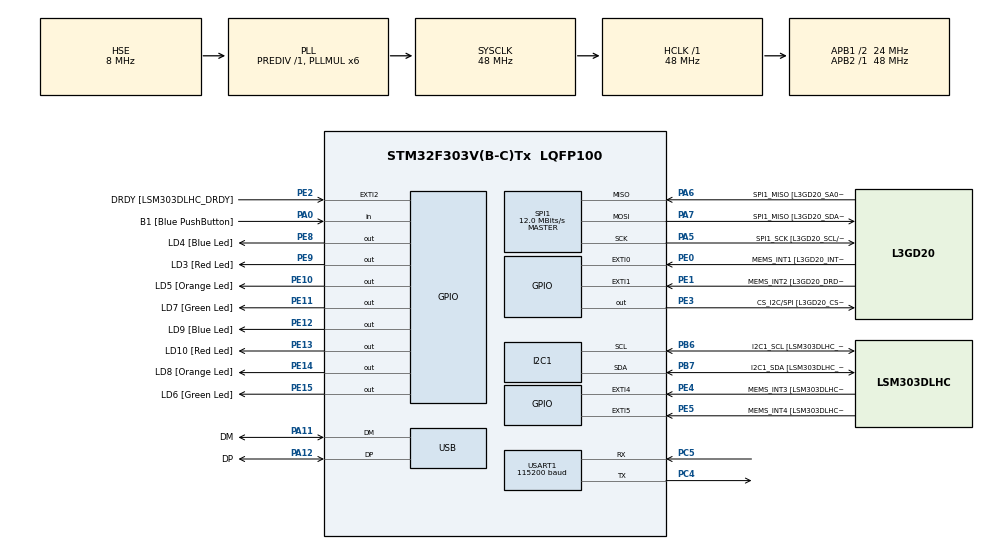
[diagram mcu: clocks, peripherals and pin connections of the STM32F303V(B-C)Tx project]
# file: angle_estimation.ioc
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I2C1.Timing=0x00201D2B
I2C1.Timing-I2C=0x2000090E
Mcu.Family=STM32F3
Mcu.Name=STM32F303V(B-C)Tx
Mcu.Package=LQFP100
NVIC.PriorityGroup=NVIC_PRIORITYGROUP_0
PA0.GPIO_Label=B1 [Blue PushButton]
PA0.Signal=GPIO_Input
PA11.GPIO_Label=DM
PA11.Mode=Device
PA11.Signal=USB_DM
PA12.GPIO_Label=DP
PA12.Mode=Device
PA12.Signal=USB_DP
PA13.GPIO_Label=SWDIO
PA13.Mode=Serial_Wire
PA13.Signal=SYS_JTMS-SWDIO
PA14.GPIO_Label=SWCLK
PA14.Mode=Serial_Wire
PA14.Signal=SYS_JTCK-SWCLK
PA5.GPIO_Label=SPI1_SCK [L3GD20_SCL/SPC]
PA5.Mode=Full_Duplex_Master
PA5.Signal=SPI1_SCK
PA6.GPIO_Label=SPI1_MISO [L3GD20_SA0/SDO]
PA6.Mode=Full_Duplex_Master
PA6.Signal=SPI1_MISO
PA7.GPIO_Label=SPI1_MISO [L3GD20_SDA/SDI/SDO]
PA7.Mode=Full_Duplex_Master
PA7.Signal=SPI1_MOSI
PB3.GPIO_Label=SWO
PB3.Signal=SYS_JTDO-TRACESWO
PB6.GPIO_Label=I2C1_SCL [LSM303DLHC_SCL]
PB6.GPIO_Pu=GPIO_PULLUP
PB6.Mode=I2C
PB6.Signal=I2C1_SCL
PB7.GPIO_Label=I2C1_SDA [LSM303DLHC_SDA]
PB7.GPIO_Pu=GPIO_PULLUP
PB7.Mode=I2C
PB7.Signal=I2C1_SDA
PC14-OSC32_IN.GPIO_Label=OSC32_IN
PC14-OSC32_IN.Signal=RCC_OSC32_IN
PC15-OSC32_OUT.GPIO_Label=OSC32_OUT
PC15-OSC32_OUT.Signal=RCC_OSC32_OUT
PC4.Mode=Asynchronous
PC4.Signal=USART1_TX
PC5.Mode=Asynchronous
PC5.Signal=USART1_RX
PE0.GPIO_Label=MEMS_INT1 [L3GD20_INT1]
PE0.GPIO_ModeDefaultEXTI=GPIO_MODE_EVT_RISING
PE0.Signal=GPXTI0
PE1.GPIO_Label=MEMS_INT2 [L3GD20_DRDY/INT2]
PE1.GPIO_ModeDefaultEXTI=GPIO_MODE_EVT_RISING
PE1.Signal=GPXTI1
PE10.GPIO_Label=LD5 [Orange Led]
PE10.Signal=GPIO_Output
PE11.GPIO_Label=LD7 [Green Led]
PE11.Signal=GPIO_Output
PE12.GPIO_Label=LD9 [Blue Led]
PE12.Signal=GPIO_Output
PE13.GPIO_Label=LD10 [Red Led]
PE13.Signal=GPIO_Output
PE14.GPIO_Label=LD8 [Orange Led]
PE14.Signal=GPIO_Output
PE15.GPIO_Label=LD6 [Green Led]
PE15.Signal=GPIO_Output
PE2.GPIO_Label=DRDY [LSM303DLHC_DRDY]
PE2.GPIO_ModeDefaultEXTI=GPIO_MODE_EVT_RISING
PE2.Signal=GPXTI2
PE3.GPIO_Label=CS_I2C/SPI [L3GD20_CS_I2C/SPI]
PE3.Signal=GPIO_Output
PE4.GPIO_Label=MEMS_INT3 [LSM303DLHC_INT1]
PE4.GPIO_ModeDefaultEXTI=GPIO_MODE_EVT_RISING
PE4.Signal=GPXTI4
PE5.GPIO_Label=MEMS_INT4 [LSM303DLHC_INT2]
PE5.GPIO_ModeDefaultEXTI=GPIO_MODE_EVT_RISING
PE5.Signal=GPXTI5
PE8.GPIO_Label=LD4 [Blue Led]
PE8.Signal=GPIO_Output
PE9.GPIO_Label=LD3 [Red Led]
PE9.Signal=GPIO_Output
PF0-OSC_IN.GPIO_Label=OSC_IN
PF0-OSC_IN.Mode=HSE-External-Clock-Source
PF0-OSC_IN.Signal=RCC_OSC_IN
PF1-OSC_OUT.GPIO_Label=OSC_OUT
PF1-OSC_OUT.Signal=RCC_OSC_OUT
ProjectManager.HeapSize=0x200
ProjectManager.StackSize=0x400
ProjectManager.TargetToolchain=CMake
RCC.AHBFreq_Value=48000000
RCC.APB1CLKDivider=RCC_HCLK_DIV2
RCC.APB1Freq_Value=24000000
RCC.APB1TimFreq_Value=48000000
RCC.APB2Freq_Value=48000000
RCC.APB2TimFreq_Value=48000000
RCC.CortexFreq_Value=48000000
RCC.HCLKFreq_Value=48000000
RCC.HSE_VALUE=8000000
RCC.HSI_VALUE=8000000
RCC.LSE_VALUE=32768
RCC.PLLMUL=RCC_PLL_MUL6
RCC.SYSCLKFreq_VALUE=48000000
RCC.SYSCLKSourceVirtual=RCC_SYSCLKSOURCE_PLLCLK
RCC.USBFreq_Value=48000000
SPI1.BaudRatePrescaler=SPI_BAUDRATEPRESCALER_4
SPI1.BaudRatePrescaler-Full_Duplex_Master=SPI_BAUDRATEPRESCALER_2
SPI1.CalculateBaudRate=12.0 MBits/s
SPI1.CalculateBaudRate-Full_Duplex_Master=24.0 MBits/s
SPI1.Direction=SPI_DIRECTION_2LINES
SPI1.Mode=SPI_MODE_MASTER
SPI1.Mode-Full_Duplex_Master=SPI_MODE_MASTER
SPI1.VirtualType=VM_MASTER
TIM2.Period=99
TIM2.Prescaler=4799
USART1.BaudRate=115200
USART1.VirtualMode-Asynchronous=VM_ASYNC
VP_TIM2_VS_ClockSourceINT.Mode=Internal
board=STM32F3DISCOVERY

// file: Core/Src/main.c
/* USER CODE BEGIN Header */
/**
  ******************************************************************************
  * @file           : main.c
  * @brief          : Main program body
  ******************************************************************************
  * @attention
  *
  * Copyright (c) 2025 STMicroelectronics.
  * All rights reserved.
  *
  * This software is licensed under terms that can be found in the LICENSE file
  * in the root directory of this software component.
  * If no LICENSE file comes with this software, it is provided AS-IS.
  *
  ******************************************************************************
  */
/* USER CODE END Header */
#include "main.h"
#include <stdio.h>
#include <string.h>
#include <math.h>

#define GYRO_CS_GPIO_Port   GPIOE
#define GYRO_CS_Pin         CS_I2C_SPI_Pin
#define GYRO_CS_LOW()       HAL_GPIO_WritePin(GYRO_CS_GPIO_Port, GYRO_CS_Pin, GPIO_PIN_RESET)
#define GYRO_CS_HIGH()      HAL_GPIO_WritePin(GYRO_CS_GPIO_Port, GYRO_CS_Pin, GPIO_PIN_SET)

/* L3GD20 registers and constants */
#define GYRO_REG_WHOAMI   0x0F
#define GYRO_REG_CTRL1    0x20
#define GYRO_REG_CTRL4    0x23
#define GYRO_REG_OUT_X_L  0x28
#define GYRO_SPI_READ     0x80
#define GYRO_SPI_AUTO_INC 0x40
#define GYRO_SENS_250DPS  0.00875f

/* LSM303AGR accelerometer */
#define LSM_A_ADDR_8        (0x19u << 1)   // 0x32
#define LSM_A_CTRL1         0x20
#define LSM_A_CTRL4         0x23
#define LSM_A_OUT_X_L       0x28
#define LSM_A_AUTO_INC      0x80
#define LSM_A_G_PER_LSB     0.0040f

/* Complementary filter alpha */
#define CF_ALPHA 0.98f

I2C_HandleTypeDef hi2c1;
SPI_HandleTypeDef hspi1;
TIM_HandleTypeDef htim2;
UART_HandleTypeDef huart1;
PCD_HandleTypeDef hpcd_USB_FS;

/* USER CODE BEGIN PV */
/* Shared volatile state between ISR and main */
volatile float gyro_rate_x = 0.0f;    // latest gyro X rate (°/s) — updated in main
volatile float accel_angle_x = 0.0f;  // latest accel-derived pitch (deg) — updated in main
volatile float comp_angle_x = 0.0f;   // complementary filtered angle in deg — updated in ISR
volatile uint8_t flag_10hz_tasks = 0; // set by ISR every 10 ticks

/* Gyro bias (calibrated at startup) */
float gyro_bias_x = 0.0f;

/* sensor structs */
typedef struct { float ax, ay, az; float offx, offy, offz; } lsm_acc_t;
typedef struct { float gx, gy, gz; } gyro_t;

/* USER CODE END PV */

void SystemClock_Config(void);
static void MX_GPIO_Init(void);
static void MX_I2C1_Init(void);
static void MX_SPI1_Init(void);
static void MX_TIM2_Init(void);
static void MX_USART1_UART_Init(void);
static void MX_USB_PCD_Init(void);

/* USER CODE BEGIN 0 */
/* helper prototypes */
static void uart_print(const char *s);
static inline int16_t s16(uint8_t lo, uint8_t hi);
static void gyro_write_u8(uint8_t reg, uint8_t val);
static void gyro_read_n(uint8_t reg, uint8_t *buf, uint16_t n);
static uint8_t gyro_read_u8(uint8_t reg);
static void gyro_init(void);
static void gyro_read(gyro_t *g);
static float gyro_calibrate_bias_x(int samples, int delay_ms);

static HAL_StatusTypeDef i2c_write8(uint16_t dev8, uint8_t reg, uint8_t val);
static HAL_StatusTypeDef i2c_readn(uint16_t dev8, uint8_t reg, uint8_t *buf, uint16_t n);
static void LSM_Accel_Init(void);
static HAL_StatusTypeDef LSM_Accel_Read(lsm_acc_t *m);
static void LSM_Accel_Calibrate(lsm_acc_t *m, int N);

static void dps_to_text(char *dst, size_t n, float dps);
static void g_to_text(char *dst, size_t n, float g);
static void deg_to_text(char *dst, size_t n, float deg);
static void print_xyz_csv(float ax, float ay, float az);
static void print_gyro_csv(float gx, float gy, float gz);

static float accel_pitch_from_xyz(float ax, float ay, float az);

/* USER CODE END PFP */

/* Private user code ---------------------------------------------------------*/
/* USER CODE BEGIN 0 */

/* UART print helper (non-blocking not used here) */
static void uart_print(const char *s) {
  HAL_UART_Transmit(&huart1, (uint8_t*)s, (uint16_t)strlen(s), HAL_MAX_DELAY);
}

/* combine bytes little-endian */
static inline int16_t s16(uint8_t lo, uint8_t hi) {
  return (int16_t)((hi << 8) | lo);
}

/* SPI helpers for gyro (L3GD20) */
static void gyro_write_u8(uint8_t reg, uint8_t val) {
  uint8_t tx[2] = { reg & 0x3F, val }; // write: bit7=0, bit6=0
  GYRO_CS_LOW();
  HAL_SPI_Transmit(&hspi1, tx, 2, 100);
  GYRO_CS_HIGH();
}

static void gyro_read_n(uint8_t reg, uint8_t *buf, uint16_t n) {
  uint8_t header = (reg & 0x3F) | GYRO_SPI_READ | (n>1 ? GYRO_SPI_AUTO_INC : 0);
  GYRO_CS_LOW();
  HAL_SPI_Transmit(&hspi1, &header, 1, 100);
  HAL_SPI_Receive(&hspi1, buf, n, 100);
  GYRO_CS_HIGH();
}

static uint8_t gyro_read_u8(uint8_t reg) {
  uint8_t v=0; gyro_read_n(reg, &v, 1); return v;
}

/* Bring gyro up: normal mode, 100 Hz ODR & ±250 dps */
static void gyro_init(void) {
  /* CTRL1: ODR=95/100Hz & enable X/Y/Z + power on -> 0x0F is common start */
  gyro_write_u8(GYRO_REG_CTRL1, 0x0F);
  /* CTRL4: scale = ±250 dps (FS bits = 00), continuous update -> 0x00 */
  gyro_write_u8(GYRO_REG_CTRL4, 0x00);
  HAL_Delay(10);
}

/* Read gyro X/Y/Z, convert to °/s */
static void gyro_read(gyro_t *g) {
  uint8_t b[6];
  gyro_read_n(GYRO_REG_OUT_X_L, b, 6);  // auto-increment reads X/Y/Z L/H
  int16_t x = s16(b[0], b[1]);
  int16_t y = s16(b[2], b[3]);
  int16_t z = s16(b[4], b[5]);
  g->gx = x * GYRO_SENS_250DPS;
  g->gy = y * GYRO_SENS_250DPS;
  g->gz = z * GYRO_SENS_250DPS;
}

/* Calibrate gyro X bias by averaging N samples (blocking) */
static float gyro_calibrate_bias_x(int samples, int delay_ms){
  gyro_t g; float sum = 0.0f;
  for(int i=0;i<samples;i++){
    gyro_read(&g);
    sum += g.gx;
    HAL_Delay(delay_ms);
  }
  return sum / samples;
}

/* I2C wrappers for accel */
static HAL_StatusTypeDef i2c_write8(uint16_t dev8, uint8_t reg, uint8_t val) {
  return HAL_I2C_Mem_Write(&hi2c1, dev8, reg, I2C_MEMADD_SIZE_8BIT, &val, 1, 100);
}
static HAL_StatusTypeDef i2c_readn(uint16_t dev8, uint8_t reg, uint8_t *buf, uint16_t n) {
  return HAL_I2C_Mem_Read(&hi2c1, dev8, reg, I2C_MEMADD_SIZE_8BIT, buf, n, 100);
}

/* Initialize accelerometer (100 Hz, ±2g normal mode) */
static void LSM_Accel_Init(void) {
  i2c_write8(LSM_A_ADDR_8, LSM_A_CTRL1, 0x67); // ODR=100Hz, all axes enabled
  i2c_write8(LSM_A_ADDR_8, LSM_A_CTRL4, 0x00); // ±2g, normal mode
  HAL_Delay(10);
}

/* Read accel raw, convert to g, subtract offsets */
static HAL_StatusTypeDef LSM_Accel_Read(lsm_acc_t *m) {
  uint8_t b[6];
  HAL_StatusTypeDef st = i2c_readn(LSM_A_ADDR_8, (LSM_A_OUT_X_L | LSM_A_AUTO_INC), b, 6);
  if (st != HAL_OK) return st;
  int16_t rx = s16(b[0], b[1]);
  int16_t ry = s16(b[2], b[3]);
  int16_t rz = s16(b[4], b[5]);
  m->ax = rx * LSM_A_G_PER_LSB - m->offx;
  m->ay = ry * LSM_A_G_PER_LSB - m->offy;
  m->az = rz * LSM_A_G_PER_LSB - m->offz;
  return HAL_OK;
}

/* Simple accel offset calibration: average N samples while still/flat */
static void LSM_Accel_Calibrate(lsm_acc_t *m, int N) {
  float sx=0, sy=0, sz=0;
  lsm_acc_t t = {0};
  for (int i=0; i<N; i++) {
    if (LSM_Accel_Read(&t) == HAL_OK) {
      sx += t.ax; sy += t.ay; sz += t.az;
    }
    HAL_Delay(10);
  }
  m->offx = sx / N;
  m->offy = sy / N;
  m->offz = sz / N;
}

/* formatting helpers (integer-only style) */
static void dps_to_text(char *dst, size_t n, float dps){
  int32_t mdps = (int32_t)((dps>=0)?(dps*1000.0f+0.5f):(dps*1000.0f-0.5f));
  int32_t s = (mdps<0); if(s) mdps=-mdps;
  int32_t i = mdps/1000, f = mdps%1000;
  if(s) snprintf(dst,n,"-%ld.%03ld",(long)i,(long)f);
  else  snprintf(dst,n, "%ld.%03ld",(long)i,(long)f);
}
static void g_to_text(char *dst, size_t n, float g) {
  int32_t mg = (int32_t)( (g >= 0.0f) ? (g*1000.0f + 0.5f) : (g*1000.0f - 0.5f) );
  int32_t s = (mg < 0);
  if (s) mg = -mg;
  int32_t i = mg / 1000;
  int32_t f = mg % 1000;
  if (s)
    snprintf(dst, n, "-%ld.%03ld", (long)i, (long)f);
  else
    snprintf(dst, n,  "%ld.%03ld", (long)i, (long)f);
}
static void deg_to_text(char *dst, size_t n, float deg){
  int32_t mdeg = (int32_t)((deg>=0)?(deg*1000.0f+0.5f):(deg*1000.0f-0.5f));
  int32_t s = (mdeg<0); if(s) mdeg=-mdeg;
  int32_t i = mdeg/1000, f = mdeg%1000;
  if(s) snprintf(dst,n,"-%ld.%03ld",(long)i,(long)f);
  else  snprintf(dst,n, "%ld.%03ld",(long)i,(long)f);
}

static void print_xyz_csv(float ax,float ay,float az){
  char a[16], b[16], c[16], line[64];
  g_to_text(a, sizeof(a), ax);
  g_to_text(b, sizeof(b), ay);
  g_to_text(c, sizeof(c), az);
  snprintf(line, sizeof(line), "%s, %s, %s\r\n", a, b, c);
  uart_print(line);
}
static void print_gyro_csv(float gx,float gy,float gz){
  char ax[16], ay[16], az[16], line[64];
  dps_to_text(ax,sizeof ax,gx);
  dps_to_text(ay,sizeof ay,gy);
  dps_to_text(az,sizeof az,gz);
  snprintf(line,sizeof line,"%s, %s, %s\r\n",ax,ay,az);
  uart_print(line);
}

/* Accel pitch estimate in degrees: pitch = atan2(-ax, sqrt(ay^2 + az^2)) */
static float accel_pitch_from_xyz(float ax, float ay, float az) {
  float denom = sqrtf(ay*ay + az*az);
  float pr = atan2f(-ax, denom);
  return pr * 57.295779513f;
}
/* USER CODE END 0 */

int main(void)
{

  /* MCU Configuration--------------------------------------------------------*/

  /* Reset of all peripherals, Initializes the Flash interface and the Systick. */
  HAL_Init();

  /* Configure the system clock */
  SystemClock_Config();

  /* Initialize all configured peripherals */
  MX_GPIO_Init();
  MX_I2C1_Init();
  MX_SPI1_Init();
  MX_TIM2_Init();
  MX_USART1_UART_Init();
  MX_USB_PCD_Init();
  /* USER CODE BEGIN 2 */
  /* Ensure gyro CS idle HIGH (chip select inactive) */
  GYRO_CS_HIGH();
  LSM_Accel_Init();
  gyro_init();
  /* Calibrate accel offsets (optional) */
  lsm_acc_t acc_cal = {0};
  LSM_Accel_Calibrate(&acc_cal, 20); // blocking ~0.2s
  /* use calibrated offsets as baseline for reads */
  lsm_acc_t acc_store = {0};
  acc_store.offx = acc_cal.offx;
  acc_store.offy = acc_cal.offy;
  acc_store.offz = acc_cal.offz;

  /* Calibrate gyro bias (X axis) ~2 seconds */
  // uart_print("Calibrating gyro bias... keep board still (~2s)\r\n");
  // gyro_bias_x = gyro_calibrate_bias_x(200, 10);
  // {
  //   char buf[64]; int n = snprintf(buf, sizeof(buf), "Gyro bias X = %.4f dps\r\n", (double)gyro_bias_x);
  //   if (n>0) uart_print(buf);
  // }

  /* Read accel once to prime accel_angle_x and comp_angle_x */
  if (LSM_Accel_Read(&acc_store) == HAL_OK) {
    accel_angle_x = accel_pitch_from_xyz(acc_store.ax, acc_store.ay, acc_store.az);
    comp_angle_x = accel_angle_x;
  }

  /* Start TIM2 interrupt (100 Hz) */
  if (HAL_TIM_Base_Start_IT(&htim2) != HAL_OK) {
    Error_Handler();
  }

  /* Infinite loop */
  /* USER CODE BEGIN WHILE */
  while (1)
  {
    if (flag_10hz_tasks) {
    flag_10hz_tasks = 0;

    /* Task 2: LED toggle */
    HAL_GPIO_TogglePin(GPIOE, LD4_Pin);

    /* Task 3: Read accelerometer via I2C */
    lsm_acc_t acc = acc_store; // copy offsets
    if (LSM_Accel_Read(&acc) == HAL_OK) {
        float ax = acc.ax;
        float ay = acc.ay;
        float az = acc.az;

        /* Send values over UART in CSV format */
        print_xyz_csv(ax, ay, az);
    } else {
        uart_print("Accel read ERR\r\n");
    }
}
    }

    /* small sleep to reduce CPU burn (don't delay long) */
    HAL_Delay(1);
  }

void SystemClock_Config(void)
{
  RCC_OscInitTypeDef RCC_OscInitStruct = {0};
  RCC_ClkInitTypeDef RCC_ClkInitStruct = {0};
  RCC_PeriphCLKInitTypeDef PeriphClkInit = {0};

  /** Initializes the RCC Oscillators according to the specified parameters
  * in the RCC_OscInitTypeDef structure.
  */
  RCC_OscInitStruct.OscillatorType = RCC_OSCILLATORTYPE_HSI|RCC_OSCILLATORTYPE_HSE;
  RCC_OscInitStruct.HSEState = RCC_HSE_BYPASS;
  RCC_OscInitStruct.HSEPredivValue = RCC_HSE_PREDIV_DIV1;
  RCC_OscInitStruct.HSIState = RCC_HSI_ON;
  RCC_OscInitStruct.HSICalibrationValue = RCC_HSICALIBRATION_DEFAULT;
  RCC_OscInitStruct.PLL.PLLState = RCC_PLL_ON;
  RCC_OscInitStruct.PLL.PLLSource = RCC_PLLSOURCE_HSE;
  RCC_OscInitStruct.PLL.PLLMUL = RCC_PLL_MUL6;
  if (HAL_RCC_OscConfig(&RCC_OscInitStruct) != HAL_OK)
  {
    Error_Handler();
  }

  /** Initializes the CPU, AHB and APB buses clocks
  */
  RCC_ClkInitStruct.ClockType = RCC_CLOCKTYPE_HCLK|RCC_CLOCKTYPE_SYSCLK
                              |RCC_CLOCKTYPE_PCLK1|RCC_CLOCKTYPE_PCLK2;
  RCC_ClkInitStruct.SYSCLKSource = RCC_SYSCLKSOURCE_PLLCLK;
  RCC_ClkInitStruct.AHBCLKDivider = RCC_SYSCLK_DIV1;
  RCC_ClkInitStruct.APB1CLKDivider = RCC_HCLK_DIV2;
  RCC_ClkInitStruct.APB2CLKDivider = RCC_HCLK_DIV1;

  if (HAL_RCC_ClockConfig(&RCC_ClkInitStruct, FLASH_LATENCY_1) != HAL_OK)
  {
    Error_Handler();
  }
  PeriphClkInit.PeriphClockSelection = RCC_PERIPHCLK_USB|RCC_PERIPHCLK_USART1
                              |RCC_PERIPHCLK_I2C1;
  PeriphClkInit.Usart1ClockSelection = RCC_USART1CLKSOURCE_PCLK2;
  PeriphClkInit.I2c1ClockSelection = RCC_I2C1CLKSOURCE_HSI;
  PeriphClkInit.USBClockSelection = RCC_USBCLKSOURCE_PLL;
  if (HAL_RCCEx_PeriphCLKConfig(&PeriphClkInit) != HAL_OK)
  {
    Error_Handler();
  }
}

static void MX_I2C1_Init(void)
{

  hi2c1.Instance = I2C1;
  hi2c1.Init.Timing = 0x00201D2B;
  hi2c1.Init.OwnAddress1 = 0;
  hi2c1.Init.AddressingMode = I2C_ADDRESSINGMODE_7BIT;
  hi2c1.Init.DualAddressMode = I2C_DUALADDRESS_DISABLE;
  hi2c1.Init.OwnAddress2 = 0;
  hi2c1.Init.OwnAddress2Masks = I2C_OA2_NOMASK;
  hi2c1.Init.GeneralCallMode = I2C_GENERALCALL_DISABLE;
  hi2c1.Init.NoStretchMode = I2C_NOSTRETCH_DISABLE;
  if (HAL_I2C_Init(&hi2c1) != HAL_OK)
  {
    Error_Handler();
  }

  /** Configure Analogue filter
  */
  if (HAL_I2CEx_ConfigAnalogFilter(&hi2c1, I2C_ANALOGFILTER_ENABLE) != HAL_OK)
  {
    Error_Handler();
  }

  /** Configure Digital filter
  */
  if (HAL_I2CEx_ConfigDigitalFilter(&hi2c1, 0) != HAL_OK)
  {
    Error_Handler();
  }

}

static void MX_SPI1_Init(void)
{
  /* SPI1 parameter configuration*/
  hspi1.Instance = SPI1;
  hspi1.Init.Mode = SPI_MODE_MASTER;
  hspi1.Init.Direction = SPI_DIRECTION_2LINES;
  hspi1.Init.DataSize = SPI_DATASIZE_8BIT;         // 8-bit
  hspi1.Init.CLKPolarity = SPI_POLARITY_HIGH;     // CPOL = 1
  hspi1.Init.CLKPhase = SPI_PHASE_2EDGE;          // CPHA = 2EDGE
  hspi1.Init.NSS = SPI_NSS_SOFT;
  hspi1.Init.BaudRatePrescaler = SPI_BAUDRATEPRESCALER_16; // moderate speed
  hspi1.Init.FirstBit = SPI_FIRSTBIT_MSB;
  hspi1.Init.TIMode = SPI_TIMODE_DISABLE;
  hspi1.Init.CRCCalculation = SPI_CRCCALCULATION_DISABLE;
  hspi1.Init.CRCPolynomial = 7;
  hspi1.Init.CRCLength = SPI_CRC_LENGTH_DATASIZE;
  hspi1.Init.NSSPMode = SPI_NSS_PULSE_ENABLE;
  if (HAL_SPI_Init(&hspi1) != HAL_OK)
  {
    Error_Handler();
  }
}

static void MX_TIM2_Init(void)
{

  TIM_ClockConfigTypeDef sClockSourceConfig = {0};
  TIM_MasterConfigTypeDef sMasterConfig = {0};

  htim2.Instance = TIM2;
  htim2.Init.Prescaler = 4799;
  htim2.Init.CounterMode = TIM_COUNTERMODE_UP;
  htim2.Init.Period = 99;
  htim2.Init.ClockDivision = TIM_CLOCKDIVISION_DIV1;
  htim2.Init.AutoReloadPreload = TIM_AUTORELOAD_PRELOAD_DISABLE;
  if (HAL_TIM_Base_Init(&htim2) != HAL_OK)
  {
    Error_Handler();
  }
  sClockSourceConfig.ClockSource = TIM_CLOCKSOURCE_INTERNAL;
  if (HAL_TIM_ConfigClockSource(&htim2, &sClockSourceConfig) != HAL_OK)
  {
    Error_Handler();
  }
  sMasterConfig.MasterOutputTrigger = TIM_TRGO_RESET;
  sMasterConfig.MasterSlaveMode = TIM_MASTERSLAVEMODE_DISABLE;
  if (HAL_TIMEx_MasterConfigSynchronization(&htim2, &sMasterConfig) != HAL_OK)
  {
    Error_Handler();
  }

}

static void MX_USART1_UART_Init(void)
{

  huart1.Instance = USART1;
  huart1.Init.BaudRate = 115200;
  huart1.Init.WordLength = UART_WORDLENGTH_8B;
  huart1.Init.StopBits = UART_STOPBITS_1;
  huart1.Init.Parity = UART_PARITY_NONE;
  huart1.Init.Mode = UART_MODE_TX_RX;
  huart1.Init.HwFlowCtl = UART_HWCONTROL_NONE;
  huart1.Init.OverSampling = UART_OVERSAMPLING_16;
  huart1.Init.OneBitSampling = UART_ONE_BIT_SAMPLE_DISABLE;
  huart1.AdvancedInit.AdvFeatureInit = UART_ADVFEATURE_NO_INIT;
  if (HAL_UART_Init(&huart1) != HAL_OK)
  {
    Error_Handler();
  }

}

static void MX_USB_PCD_Init(void)
{

  hpcd_USB_FS.Instance = USB;
  hpcd_USB_FS.Init.dev_endpoints = 8;
  hpcd_USB_FS.Init.speed = PCD_SPEED_FULL;
  hpcd_USB_FS.Init.phy_itface = PCD_PHY_EMBEDDED;
  hpcd_USB_FS.Init.low_power_enable = DISABLE;
  hpcd_USB_FS.Init.battery_charging_enable = DISABLE;
  if (HAL_PCD_Init(&hpcd_USB_FS) != HAL_OK)
  {
    Error_Handler();
  }

}

static void MX_GPIO_Init(void)
{
  GPIO_InitTypeDef GPIO_InitStruct = {0};

  /* GPIO Ports Clock Enable */
  __HAL_RCC_GPIOE_CLK_ENABLE();
  __HAL_RCC_GPIOC_CLK_ENABLE();
  __HAL_RCC_GPIOF_CLK_ENABLE();
  __HAL_RCC_GPIOA_CLK_ENABLE();
  __HAL_RCC_GPIOB_CLK_ENABLE();

  /*Configure GPIO pin Output Level */
  HAL_GPIO_WritePin(GPIOE, CS_I2C_SPI_Pin|LD4_Pin|LD3_Pin|LD5_Pin
                          |LD7_Pin|LD9_Pin|LD10_Pin|LD8_Pin
                          |LD6_Pin, GPIO_PIN_RESET);

  /*Configure GPIO pins : DRDY_Pin MEMS_INT3_Pin MEMS_INT4_Pin MEMS_INT1_Pin
                           MEMS_INT2_Pin */
  GPIO_InitStruct.Pin = DRDY_Pin|MEMS_INT3_Pin|MEMS_INT4_Pin|MEMS_INT1_Pin
                          |MEMS_INT2_Pin;
  GPIO_InitStruct.Mode = GPIO_MODE_EVT_RISING;
  GPIO_InitStruct.Pull = GPIO_NOPULL;
  HAL_GPIO_Init(GPIOE, &GPIO_InitStruct);

  /*Configure GPIO pins : CS_I2C_SPI_Pin LD4_Pin LD3_Pin LD5_Pin
                           LD7_Pin LD9_Pin LD10_Pin LD8_Pin
                           LD6_Pin */
  GPIO_InitStruct.Pin = CS_I2C_SPI_Pin|LD4_Pin|LD3_Pin|LD5_Pin
                          |LD7_Pin|LD9_Pin|LD10_Pin|LD8_Pin
                          |LD6_Pin;
  GPIO_InitStruct.Mode = GPIO_MODE_OUTPUT_PP;
  GPIO_InitStruct.Pull = GPIO_NOPULL;
  GPIO_InitStruct.Speed = GPIO_SPEED_FREQ_LOW;
  HAL_GPIO_Init(GPIOE, &GPIO_InitStruct);

  /*Configure GPIO pin : B1_Pin */
  GPIO_InitStruct.Pin = B1_Pin;
  GPIO_InitStruct.Mode = GPIO_MODE_INPUT;
  GPIO_InitStruct.Pull = GPIO_NOPULL;
  HAL_GPIO_Init(B1_GPIO_Port, &GPIO_InitStruct);

}

/* USER CODE BEGIN 4 */
void HAL_TIM_PeriodElapsedCallback(TIM_HandleTypeDef *htim)
{
  if (htim->Instance == TIM2) {
    static uint8_t tick = 0;
    tick++;

    /* 1) Heartbeat at 100Hz */
    HAL_GPIO_TogglePin(GPIOE, LD3_Pin);

    /* 2) Complementary filter update (dt = 0.01s) */
    const float dt = 0.01f;
    float g_rate = gyro_rate_x;    // deg/s (volatile read)
    float a_angle = accel_angle_x; // deg (volatile read)
    float gyro_est = comp_angle_x + g_rate * dt;
    comp_angle_x = CF_ALPHA * gyro_est + (1.0f - CF_ALPHA) * a_angle;

    /* 3) every 10 ticks -> request 10Hz tasks (set by ISR) */
    if ((tick % 10) == 0) flag_10hz_tasks = 1;

    if (tick >= 100) tick = 0;
  }
}
/* USER CODE END 4 */

void Error_Handler(void)
{
  __disable_irq();
  while (1)
  {
  }
}
